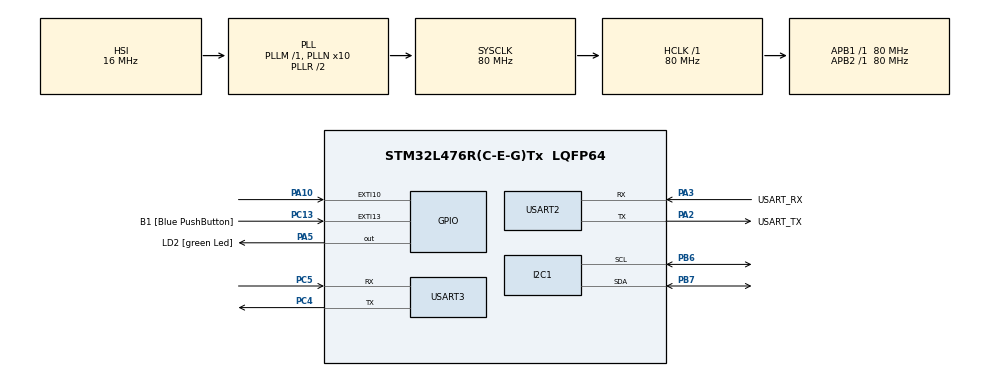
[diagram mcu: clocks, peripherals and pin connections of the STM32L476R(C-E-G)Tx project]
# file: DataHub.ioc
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Dma.Request0=USART3_TX
Dma.USART3_TX.0.Direction=DMA_MEMORY_TO_PERIPH
Dma.USART3_TX.0.Instance=DMA1_Channel2
Dma.USART3_TX.0.MemDataAlignment=DMA_MDATAALIGN_BYTE
Dma.USART3_TX.0.MemInc=DMA_MINC_ENABLE
Dma.USART3_TX.0.Mode=DMA_NORMAL
Dma.USART3_TX.0.PeriphDataAlignment=DMA_PDATAALIGN_BYTE
Dma.USART3_TX.0.PeriphInc=DMA_PINC_DISABLE
Dma.USART3_TX.0.Priority=DMA_PRIORITY_LOW
FREERTOS.Tasks01=defaultTask,24,128,StartDefaultTask,Default,NULL,Dynamic,NULL,NULL
FREERTOS.configTOTAL_HEAP_SIZE=32768
I2C1.Timing=0x10D19CE4
Mcu.Family=STM32L4
Mcu.Name=STM32L476R(C-E-G)Tx
Mcu.Package=LQFP64
NVIC.DMA1_Channel2_IRQn=true\:5\:0\:false\:false\:true\:true\:false\:true\:true
NVIC.EXTI15_10_IRQn=true\:5\:0\:false\:false\:true\:true\:true\:true\:true
NVIC.PriorityGroup=NVIC_PRIORITYGROUP_4
NVIC.TIM1_TRG_COM_TIM17_IRQn=true\:15\:0\:false\:false\:true\:false\:false\:true\:true
NVIC.TimeBase=TIM1_TRG_COM_TIM17_IRQn
NVIC.TimeBaseIP=TIM17
PA10.Signal=GPXTI10
PA13\ (JTMS-SWDIO).GPIO_Label=TMS
PA13\ (JTMS-SWDIO).Mode=Serial_Wire
PA13\ (JTMS-SWDIO).Signal=SYS_JTMS-SWDIO
PA14\ (JTCK-SWCLK).GPIO_Label=TCK
PA14\ (JTCK-SWCLK).Mode=Serial_Wire
PA14\ (JTCK-SWCLK).Signal=SYS_JTCK-SWCLK
PA2.GPIO_Label=USART_TX
PA2.GPIO_Mode=GPIO_MODE_AF_PP
PA2.GPIO_PuPd=GPIO_NOPULL
PA2.GPIO_Speed=GPIO_SPEED_FREQ_VERY_HIGH
PA2.Mode=Asynchronous
PA2.Signal=USART2_TX
PA3.GPIO_Label=USART_RX
PA3.GPIO_Mode=GPIO_MODE_AF_PP
PA3.GPIO_PuPd=GPIO_NOPULL
PA3.GPIO_Speed=GPIO_SPEED_FREQ_VERY_HIGH
PA3.Mode=Asynchronous
PA3.Signal=USART2_RX
PA5.GPIO_Label=LD2 [green Led]
PA5.GPIO_ModeDefaultOutputPP=GPIO_MODE_OUTPUT_PP
PA5.GPIO_PuPd=GPIO_NOPULL
PA5.GPIO_Speed=GPIO_SPEED_FREQ_LOW
PA5.Signal=GPIO_Output
PB3\ (JTDO-TRACESWO).GPIO_Label=SWO
PB3\ (JTDO-TRACESWO).Signal=SYS_JTDO-SWO
PB6.Mode=I2C
PB6.Signal=I2C1_SCL
PB7.Mode=I2C
PB7.Signal=I2C1_SDA
PC13.GPIO_Label=B1 [Blue PushButton]
PC13.GPIO_ModeDefaultEXTI=GPIO_MODE_IT_FALLING
PC13.GPIO_PuPd=GPIO_NOPULL
PC13.Signal=GPXTI13
PC14-OSC32_IN\ (PC14).Mode=LSE-External-Oscillator
PC14-OSC32_IN\ (PC14).Signal=RCC_OSC32_IN
PC15-OSC32_OUT\ (PC15).Mode=LSE-External-Oscillator
PC15-OSC32_OUT\ (PC15).Signal=RCC_OSC32_OUT
PC4.Mode=Asynchronous
PC4.Signal=USART3_TX
PC5.Mode=Asynchronous
PC5.Signal=USART3_RX
PH0-OSC_IN\ (PH0).Signal=RCC_OSC_IN
PH1-OSC_OUT\ (PH1).Signal=RCC_OSC_OUT
ProjectManager.HeapSize=0x200
ProjectManager.StackSize=0x400
ProjectManager.TargetToolchain=STM32CubeIDE
RCC.ADCFreq_Value=64000000
RCC.AHBFreq_Value=80000000
RCC.APB1Freq_Value=80000000
RCC.APB1TimFreq_Value=80000000
RCC.APB2Freq_Value=80000000
RCC.APB2TimFreq_Value=80000000
RCC.CortexFreq_Value=80000000
RCC.HCLKFreq_Value=80000000
RCC.HSE_VALUE=8000000
RCC.HSI_VALUE=16000000
RCC.MSI_VALUE=4000000
RCC.PLLN=10
RCC.PLLSourceVirtual=RCC_PLLSOURCE_HSI
RCC.PREFETCH_ENABLE=1
RCC.SYSCLKFreq_VALUE=80000000
RCC.SYSCLKSource=RCC_SYSCLKSOURCE_PLLCLK
RCC.USBFreq_Value=64000000
RCC.VCOOutputFreq_Value=160000000
USART2.VirtualMode-Asynchronous=VM_ASYNC
USART3.VirtualMode-Asynchronous=VM_ASYNC
VP_FREERTOS_VS_CMSIS_V2.Mode=CMSIS_V2
VP_SYS_VS_tim17.Mode=TIM17
board=NUCLEO-L476RG

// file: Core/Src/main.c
/* USER CODE BEGIN Header */
/**
  ******************************************************************************
  * @file           : main.c
  * @brief          : Main program body
  ******************************************************************************
  * @attention
  *
  * Copyright (c) 2026 STMicroelectronics.
  * All rights reserved.
  *
  * This software is licensed under terms that can be found in the LICENSE file
  * in the root directory of this software component.
  * If no LICENSE file comes with this software, it is provided AS-IS.
  *
  ******************************************************************************
  */
/* USER CODE END Header */
#include "main.h"
#include "cmsis_os.h"

/* USER CODE BEGIN Includes */
#include "FreeRTOS.h"
#include "task.h"
#include "queue.h"
#include "semphr.h"
#include <stdio.h>
#include <string.h>
#include <inttypes.h>
/* USER CODE END Includes */

/* USER CODE BEGIN PTD */
typedef enum {
	  BMP280_OK = 0,
	  BMP280_ERR_COMM,
	  BMP280_ERR_WRONG_ID
  } BMP280_Status_t;
/* USER CODE END PTD */

I2C_HandleTypeDef hi2c1;

UART_HandleTypeDef huart2;
UART_HandleTypeDef huart3;
DMA_HandleTypeDef hdma_usart3_tx;

/* Definitions for defaultTask */
osThreadId_t defaultTaskHandle;
const osThreadAttr_t defaultTask_attributes = {
  .name = "defaultTask",
  .stack_size = 128 * 4,
  .priority = (osPriority_t) osPriorityNormal,
};
/* USER CODE BEGIN PV */
BMP280_CalibData_t calib;
int32_t t_fine;
uint8_t motion_flag = 0;
SemaphoreHandle_t motionMutexHandle = NULL;
QueueHandle_t sensorQueueHandle = NULL;

TaskHandle_t envTaskHandle = NULL;
TaskHandle_t motionTaskHandle = NULL;
TaskHandle_t commTaskHandle = NULL;
/* USER CODE END PV */

void SystemClock_Config(void);
static void MX_GPIO_Init(void);
static void MX_DMA_Init(void);
static void MX_USART2_UART_Init(void);
static void MX_I2C1_Init(void);
static void MX_USART3_UART_Init(void);
void StartDefaultTask(void *argument);

/* USER CODE BEGIN PFP */
BMP280_Status_t BMP280_Init();
void BMP280_Config();
uint32_t bmp280_compensate_P_int64(int32_t adc_P);
int32_t bmp280_compensate_T_int32(int32_t adc_T);
BaseType_t Read_BMP280_Data(System_Data_t *data);

BaseType_t AHT20_Init();
BaseType_t Read_AHT20_Data(System_Data_t *data);

BaseType_t Read_Sensors_Data(System_Data_t *data);
uint8_t Calculate_CRC8(const uint8_t *data, size_t length);

void StartEnvTask(void *argument);
void StartMotionTask(void *argument);
void StartCommTask(void *argument);
/* USER CODE END PFP */

/* USER CODE BEGIN 0 */
int __io_putchar(int ch)
{
	HAL_UART_Transmit(&huart2, (uint8_t *)&ch, 1, HAL_MAX_DELAY);
	return ch;
}
/* USER CODE END 0 */

int main(void)
{

  /* MCU Configuration--------------------------------------------------------*/

  /* Reset of all peripherals, Initializes the Flash interface and the Systick. */
  HAL_Init();

  /* Configure the system clock */
  SystemClock_Config();

  /* Initialize all configured peripherals */
  MX_GPIO_Init();
  MX_DMA_Init();
  MX_USART2_UART_Init();
  MX_I2C1_Init();
  MX_USART3_UART_Init();

  /* Init scheduler */
  osKernelInitialize();

  /* USER CODE BEGIN RTOS_QUEUES */
  /* add queues, ... */
  sensorQueueHandle = xQueueCreate(4, sizeof(System_Data_t));
  if (sensorQueueHandle == NULL)
  {
	  Error_Handler();
  }
  motionMutexHandle = xSemaphoreCreateMutex();
  if (motionMutexHandle == NULL)
  {
	  Error_Handler();
  }
  /* USER CODE END RTOS_QUEUES */

  /* Create the thread(s) */
  /* creation of defaultTask */
  defaultTaskHandle = osThreadNew(StartDefaultTask, NULL, &defaultTask_attributes);

  /* USER CODE BEGIN RTOS_THREADS */
  /* add threads, ... */
  if (xTaskCreate(StartEnvTask, "EnvTask", 512, NULL, tskIDLE_PRIORITY + 2, &envTaskHandle) != pdPASS)
  {
	  Error_Handler();
  }
  if (xTaskCreate(StartCommTask, "CommTask", 512, NULL, tskIDLE_PRIORITY + 4, &commTaskHandle) != pdPASS)
  {
	  Error_Handler();
  }
  if (xTaskCreate(StartMotionTask, "MotionTask", 256, NULL, tskIDLE_PRIORITY + 3, &motionTaskHandle) != pdPASS)
  {
	  Error_Handler();
  }
  /* USER CODE END RTOS_THREADS */

  /* Start scheduler */
  osKernelStart();

  /* We should never get here as control is now taken by the scheduler */

  /* Infinite loop */
  while (1)
  {

  }
}

void SystemClock_Config(void)
{
  RCC_OscInitTypeDef RCC_OscInitStruct = {0};
  RCC_ClkInitTypeDef RCC_ClkInitStruct = {0};

  /** Configure the main internal regulator output voltage
  */
  if (HAL_PWREx_ControlVoltageScaling(PWR_REGULATOR_VOLTAGE_SCALE1) != HAL_OK)
  {
    Error_Handler();
  }

  /** Initializes the RCC Oscillators according to the specified parameters
  * in the RCC_OscInitTypeDef structure.
  */
  RCC_OscInitStruct.OscillatorType = RCC_OSCILLATORTYPE_HSI;
  RCC_OscInitStruct.HSIState = RCC_HSI_ON;
  RCC_OscInitStruct.HSICalibrationValue = RCC_HSICALIBRATION_DEFAULT;
  RCC_OscInitStruct.PLL.PLLState = RCC_PLL_ON;
  RCC_OscInitStruct.PLL.PLLSource = RCC_PLLSOURCE_HSI;
  RCC_OscInitStruct.PLL.PLLM = 1;
  RCC_OscInitStruct.PLL.PLLN = 10;
  RCC_OscInitStruct.PLL.PLLP = RCC_PLLP_DIV7;
  RCC_OscInitStruct.PLL.PLLQ = RCC_PLLQ_DIV2;
  RCC_OscInitStruct.PLL.PLLR = RCC_PLLR_DIV2;
  if (HAL_RCC_OscConfig(&RCC_OscInitStruct) != HAL_OK)
  {
    Error_Handler();
  }

  /** Initializes the CPU, AHB and APB buses clocks
  */
  RCC_ClkInitStruct.ClockType = RCC_CLOCKTYPE_HCLK|RCC_CLOCKTYPE_SYSCLK
                              |RCC_CLOCKTYPE_PCLK1|RCC_CLOCKTYPE_PCLK2;
  RCC_ClkInitStruct.SYSCLKSource = RCC_SYSCLKSOURCE_PLLCLK;
  RCC_ClkInitStruct.AHBCLKDivider = RCC_SYSCLK_DIV1;
  RCC_ClkInitStruct.APB1CLKDivider = RCC_HCLK_DIV1;
  RCC_ClkInitStruct.APB2CLKDivider = RCC_HCLK_DIV1;

  if (HAL_RCC_ClockConfig(&RCC_ClkInitStruct, FLASH_LATENCY_4) != HAL_OK)
  {
    Error_Handler();
  }
}

static void MX_I2C1_Init(void)
{

  hi2c1.Instance = I2C1;
  hi2c1.Init.Timing = 0x10D19CE4;
  hi2c1.Init.OwnAddress1 = 0;
  hi2c1.Init.AddressingMode = I2C_ADDRESSINGMODE_7BIT;
  hi2c1.Init.DualAddressMode = I2C_DUALADDRESS_DISABLE;
  hi2c1.Init.OwnAddress2 = 0;
  hi2c1.Init.OwnAddress2Masks = I2C_OA2_NOMASK;
  hi2c1.Init.GeneralCallMode = I2C_GENERALCALL_DISABLE;
  hi2c1.Init.NoStretchMode = I2C_NOSTRETCH_DISABLE;
  if (HAL_I2C_Init(&hi2c1) != HAL_OK)
  {
    Error_Handler();
  }

  /** Configure Analogue filter
  */
  if (HAL_I2CEx_ConfigAnalogFilter(&hi2c1, I2C_ANALOGFILTER_ENABLE) != HAL_OK)
  {
    Error_Handler();
  }

  /** Configure Digital filter
  */
  if (HAL_I2CEx_ConfigDigitalFilter(&hi2c1, 0) != HAL_OK)
  {
    Error_Handler();
  }

}

static void MX_USART2_UART_Init(void)
{

  huart2.Instance = USART2;
  huart2.Init.BaudRate = 115200;
  huart2.Init.WordLength = UART_WORDLENGTH_8B;
  huart2.Init.StopBits = UART_STOPBITS_1;
  huart2.Init.Parity = UART_PARITY_NONE;
  huart2.Init.Mode = UART_MODE_TX_RX;
  huart2.Init.HwFlowCtl = UART_HWCONTROL_NONE;
  huart2.Init.OverSampling = UART_OVERSAMPLING_16;
  huart2.Init.OneBitSampling = UART_ONE_BIT_SAMPLE_DISABLE;
  huart2.AdvancedInit.AdvFeatureInit = UART_ADVFEATURE_NO_INIT;
  if (HAL_UART_Init(&huart2) != HAL_OK)
  {
    Error_Handler();
  }

}

static void MX_USART3_UART_Init(void)
{

  huart3.Instance = USART3;
  huart3.Init.BaudRate = 115200;
  huart3.Init.WordLength = UART_WORDLENGTH_8B;
  huart3.Init.StopBits = UART_STOPBITS_1;
  huart3.Init.Parity = UART_PARITY_NONE;
  huart3.Init.Mode = UART_MODE_TX_RX;
  huart3.Init.HwFlowCtl = UART_HWCONTROL_NONE;
  huart3.Init.OverSampling = UART_OVERSAMPLING_16;
  huart3.Init.OneBitSampling = UART_ONE_BIT_SAMPLE_DISABLE;
  huart3.AdvancedInit.AdvFeatureInit = UART_ADVFEATURE_NO_INIT;
  if (HAL_UART_Init(&huart3) != HAL_OK)
  {
    Error_Handler();
  }

}

static void MX_DMA_Init(void)
{

  /* DMA controller clock enable */
  __HAL_RCC_DMA1_CLK_ENABLE();

  /* DMA interrupt init */
  /* DMA1_Channel2_IRQn interrupt configuration */
  HAL_NVIC_SetPriority(DMA1_Channel2_IRQn, 5, 0);
  HAL_NVIC_EnableIRQ(DMA1_Channel2_IRQn);

}

static void MX_GPIO_Init(void)
{
  GPIO_InitTypeDef GPIO_InitStruct = {0};

  /* GPIO Ports Clock Enable */
  __HAL_RCC_GPIOC_CLK_ENABLE();
  __HAL_RCC_GPIOH_CLK_ENABLE();
  __HAL_RCC_GPIOA_CLK_ENABLE();
  __HAL_RCC_GPIOB_CLK_ENABLE();

  /*Configure GPIO pin Output Level */
  HAL_GPIO_WritePin(LD2_GPIO_Port, LD2_Pin, GPIO_PIN_RESET);

  /*Configure GPIO pin : B1_Pin */
  GPIO_InitStruct.Pin = B1_Pin;
  GPIO_InitStruct.Mode = GPIO_MODE_IT_FALLING;
  GPIO_InitStruct.Pull = GPIO_NOPULL;
  HAL_GPIO_Init(B1_GPIO_Port, &GPIO_InitStruct);

  /*Configure GPIO pin : LD2_Pin */
  GPIO_InitStruct.Pin = LD2_Pin;
  GPIO_InitStruct.Mode = GPIO_MODE_OUTPUT_PP;
  GPIO_InitStruct.Pull = GPIO_NOPULL;
  GPIO_InitStruct.Speed = GPIO_SPEED_FREQ_LOW;
  HAL_GPIO_Init(LD2_GPIO_Port, &GPIO_InitStruct);

  /*Configure GPIO pin : PA10 */
  GPIO_InitStruct.Pin = GPIO_PIN_10;
  GPIO_InitStruct.Mode = GPIO_MODE_IT_RISING;
  GPIO_InitStruct.Pull = GPIO_NOPULL;
  HAL_GPIO_Init(GPIOA, &GPIO_InitStruct);

  /* EXTI interrupt init*/
  HAL_NVIC_SetPriority(EXTI15_10_IRQn, 5, 0);
  HAL_NVIC_EnableIRQ(EXTI15_10_IRQn);

}

/* USER CODE BEGIN 4 */
int32_t bmp280_compensate_T_int32(int32_t adc_T)
{
    int32_t var1, var2, T;
    var1 = ((((adc_T>>3) - ((int32_t)calib.dig_T1<<1))) * ((int32_t)calib.dig_T2)) >> 11;
    var2 = (((((adc_T>>4) - ((int32_t)calib.dig_T1)) * ((adc_T>>4) - ((int32_t)calib.dig_T1))) >> 12) *
            ((int32_t)calib.dig_T3)) >> 14;
    t_fine = var1 + var2;
    T = (t_fine * 5 + 128) >> 8;
    return T;
}

uint32_t bmp280_compensate_P_int64(int32_t adc_P)
{
    int64_t var1, var2, p;
    var1 = ((int64_t)t_fine) - 128000;
    var2 = var1 * var1 * (int64_t)calib.dig_P6;
    var2 = var2 + ((var1*(int64_t)calib.dig_P5)<<17);
    var2 = var2 + (((int64_t)calib.dig_P4)<<35);
    var1 = ((var1 * var1 * (int64_t)calib.dig_P3)>>8) + ((var1 * (int64_t)calib.dig_P2)<<12);
    var1 = (((((int64_t)1)<<47)+var1))*((int64_t)calib.dig_P1)>>33;
    if (var1 == 0)
    {
        return 0; // avoid exception caused by division by zero
    }
    p = 1048576-adc_P;
    p = (((p<<31)-var2)*3125)/var1;
    var1 = (((int64_t)calib.dig_P9) * (p>>13) * (p>>13)) >> 25;
    var2 = (((int64_t)calib.dig_P8) * p) >> 19;
    p = ((p + var1 + var2) >> 8) + (((int64_t)calib.dig_P7)<<4);
    return (uint32_t)p;
}

BMP280_Status_t BMP280_Init()
{
  uint8_t chip_id;

  if (HAL_I2C_Mem_Read(&hi2c1, BMP280_ADDR, 0xD0, I2C_MEMADD_SIZE_8BIT, &chip_id, 1, 100) != HAL_OK)
  {
	  return BMP280_ERR_COMM;
  }
  if (chip_id != BMP280_ID)
  {
	  return BMP280_ERR_WRONG_ID;
  }
  return BMP280_OK;
}

uint8_t Calculate_CRC8(const uint8_t *data, size_t length)
{
	if (data == NULL || length == 0)
	{
		return 0x00;
	}

	uint8_t crc = 0x00;

	for(size_t i = 0; i < length; i++)
	{
		crc ^= data[i];
		for (size_t j = 0; j < 8; j++)
		{
			if (crc & 0x80)
			{
				crc = (crc << 1) ^ 0x07;
			} else
			{
				crc = crc << 1;
			}
		}
	}
	return crc;
}

void HAL_UART_TxCpltCallback(UART_HandleTypeDef *huart)
{
	if (huart->Instance == USART3)
	{
		BaseType_t xHigherPriorityTaskWoken = pdFALSE;

		vTaskNotifyGiveFromISR(commTaskHandle, &xHigherPriorityTaskWoken);

		portYIELD_FROM_ISR(xHigherPriorityTaskWoken);
	}
}

void BMP280_Config()
{
	uint8_t ctrl_meas = (0b010 << 5) | (0b001 << 2) | (0b11);
	HAL_I2C_Mem_Write(&hi2c1, BMP280_ADDR, 0xF4, I2C_MEMADD_SIZE_8BIT, &ctrl_meas, 1, 100);

	uint8_t config = (0b110 << 5) | (0b001 << 2);
	HAL_I2C_Mem_Write(&hi2c1, BMP280_ADDR, 0xF5, I2C_MEMADD_SIZE_8BIT, &config, 1, 100);

	uint8_t raw_calib[24];
	HAL_I2C_Mem_Read(&hi2c1, BMP280_ADDR, 0x88, I2C_MEMADD_SIZE_8BIT, raw_calib, 24, 100);
	memcpy(&calib, raw_calib, 24);
}

BaseType_t AHT20_Init()
{
	uint8_t status_byte = 0;
	vTaskDelay(pdMS_TO_TICKS(40));
	if (HAL_I2C_Master_Receive(&hi2c1, (0x38 << 1), &status_byte, 1, 100) != HAL_OK) return pdFALSE;
	if (!(status_byte & 0x8))
	{
		uint8_t init_cmd[3] = {0xBE, 0x08, 0x00};
		if (HAL_I2C_Master_Transmit(&hi2c1, (0x38 << 1), init_cmd, 3, 100) != HAL_OK) return pdFALSE;
		vTaskDelay(pdMS_TO_TICKS(10));
	}
	return pdTRUE;
}

BaseType_t Read_BMP280_Data(System_Data_t *data)
{
	uint8_t raw_bmp280_data[6];
	int32_t adc_T;
	int32_t adc_P;

	if (HAL_I2C_Mem_Read(&hi2c1, BMP280_ADDR, 0xF7, I2C_MEMADD_SIZE_8BIT, raw_bmp280_data, 6, 100) == HAL_OK)
	{
		adc_P = (int32_t)((((uint32_t)raw_bmp280_data[0]) << 12) | (((uint32_t)raw_bmp280_data[1]) << 4) | (((uint32_t)raw_bmp280_data[2]) >> 4));
		adc_T = (int32_t)((((uint32_t)raw_bmp280_data[3]) << 12) | (((uint32_t)raw_bmp280_data[4]) << 4) | (((uint32_t)raw_bmp280_data[5]) >> 4));
		data->temp = (int16_t)bmp280_compensate_T_int32(adc_T);
		data->press = bmp280_compensate_P_int64(adc_P);
		printf("Temp: %" PRId16 ", Press: %" PRIu32 "\r\n", data->temp, data->press);
		return pdTRUE;
	}
	return pdFALSE;
}

BaseType_t Read_AHT20_Data(System_Data_t *data)
{
	uint8_t raw_aht20_data[4];
	int32_t s_RH;

	uint8_t trig_cmd[3] = {0xAC, 0x33, 0x00};
	if (HAL_I2C_Master_Transmit(&hi2c1, (0x38 << 1), trig_cmd, 3, 100) != HAL_OK) return pdFALSE;
	vTaskDelay(pdMS_TO_TICKS(80));

	if (HAL_I2C_Master_Receive(&hi2c1, (0x38 << 1), raw_aht20_data, 4, 100) != HAL_OK) return pdFALSE;
	if (raw_aht20_data[0] & 0x80) return pdFALSE;

	s_RH = (int32_t)((((uint32_t)raw_aht20_data[1]) << 12) | (((uint32_t)raw_aht20_data[2]) << 4) | (((uint32_t)raw_aht20_data[3]) >> 4));
	data->hum = (uint8_t)((s_RH * 100) >> 20);

	return pdTRUE;
}

BaseType_t Read_Sensors_Data(System_Data_t *data)
{
	return (Read_AHT20_Data(data) && Read_BMP280_Data(data));
}

void HAL_GPIO_EXTI_Callback(uint16_t GPIO_Pin)
{
	if (GPIO_Pin == GPIO_PIN_10)
	{
		BaseType_t xHigherPriorityTaskWoken = pdFALSE;

		vTaskNotifyGiveFromISR(motionTaskHandle, &xHigherPriorityTaskWoken);

		portYIELD_FROM_ISR(xHigherPriorityTaskWoken);
	}
}

void StartEnvTask(void *argument)
{

	while(AHT20_Init() != pdTRUE)
	{
		vTaskDelay(pdMS_TO_TICKS(1000));
	}
	while(BMP280_Init() != BMP280_OK)
	{
		vTaskDelay(pdMS_TO_TICKS(1000));
	}
	BMP280_Config();

	System_Data_t tx_data = {0};
	for(;;)
	{
		if (Read_Sensors_Data(&tx_data) == pdTRUE)
		{
			if (xSemaphoreTake(motionMutexHandle, pdMS_TO_TICKS(100)) == pdTRUE)
			{
				if (motion_flag == 1 || HAL_GPIO_ReadPin(GPIOA, GPIO_PIN_10) == GPIO_PIN_SET)
				{
					tx_data.motion = 1;
				}
				else
				{
					tx_data.motion = 0;
				}
				motion_flag = 0;
				xSemaphoreGive(motionMutexHandle);
			}
			xQueueSend(sensorQueueHandle, &tx_data, pdMS_TO_TICKS(10));
		}
		vTaskDelay(pdMS_TO_TICKS(2000));
	}
}

void StartMotionTask(void *argument)
{
  for(;;)
  {
	  if (ulTaskNotifyTake(pdTRUE, portMAX_DELAY))
	  {
		  if (xSemaphoreTake(motionMutexHandle, pdMS_TO_TICKS(100)) == pdTRUE)
		  {
			  motion_flag = 1;
			  xSemaphoreGive(motionMutexHandle);
		  }
	  }
  }
}

void StartCommTask(void *argument)
{
	static Sensor_Packet_t packet;
	System_Data_t rx_data;

	packet.header[0] = 0xAA;
	packet.header[1] = 0x55;
	for(;;)
	{
		if (xQueueReceive(sensorQueueHandle, &rx_data, portMAX_DELAY) == pdTRUE)
		{
			packet.temp = rx_data.temp;
			packet.press = rx_data.press;
			packet.hum = rx_data.hum;
			packet.motion = (rx_data.motion == 1) ? 0xE0 : 0x1F;
			packet.crc = Calculate_CRC8((uint8_t *)&packet.temp, 8);
			HAL_UART_Transmit_DMA(&huart3, (uint8_t *)&packet, sizeof(packet));

			uint32_t notified = ulTaskNotifyTake(pdTRUE, pdMS_TO_TICKS(100));
			if (notified == 0)
			{
				HAL_UART_AbortTransmit(&huart3);
			}
		}
	}
}
/* USER CODE END 4 */

void StartDefaultTask(void *argument)
{
  /* USER CODE BEGIN 5 */
  /* Infinite loop */
  for(;;)
  {
    vTaskDelete(NULL);
  }
  /* USER CODE END 5 */
}

void HAL_TIM_PeriodElapsedCallback(TIM_HandleTypeDef *htim)
{
  if (htim->Instance == TIM17) {
    HAL_IncTick();
  }
}

void Error_Handler(void)
{
  __disable_irq();
  while (1)
  {
  }
}
